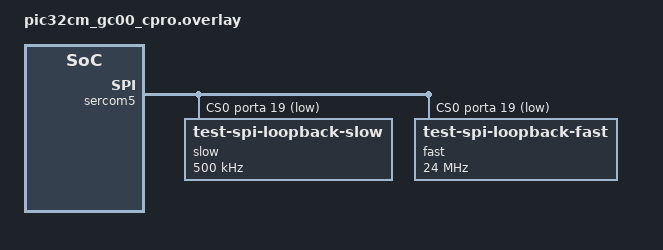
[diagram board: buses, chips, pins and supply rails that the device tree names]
/*
 * Copyright (c) 2026 Microchip Technology Inc.
 *
 * SPDX-License-Identifier: Apache-2.0
 */

&sercom2 {
	status = "disabled";
};

&sercom5 {
	compatible = "microchip,sercom-g1-spi";
	/* Internally connect MOSI to MISO for loop-back operation */
	dipo = <3>;
	dopo = <2>;
	/* Assign a CS pin */
	cs-gpios = <&porta 19 GPIO_ACTIVE_LOW>;
	/* Configure DMA */
	dmas = <&dmac 0 26>, <&dmac 1 27>;
	dma-names = "rx", "tx";

	slow@0 {
		compatible = "test-spi-loopback-slow";
		reg = <0>;
		spi-max-frequency = <500000>;
	};

	fast@0 {
		compatible = "test-spi-loopback-fast";
		reg = <0>;
		spi-max-frequency = <24000000>;
	};

	#address-cells = <1>;
	#size-cells = <0>;
	pinctrl-0 = <&sercom5_spi_default>;
	pinctrl-names = "default";
	status = "okay";
};

&pinctrl {
	sercom5_spi_default: sercom5_spi_default {
		group1 {
			pinmux = <PA16D_SERCOM5_PAD0>,
				 <PA15D_SERCOM5_PAD3>,
				 <PA17D_SERCOM5_PAD1>;
		};
	};
};
